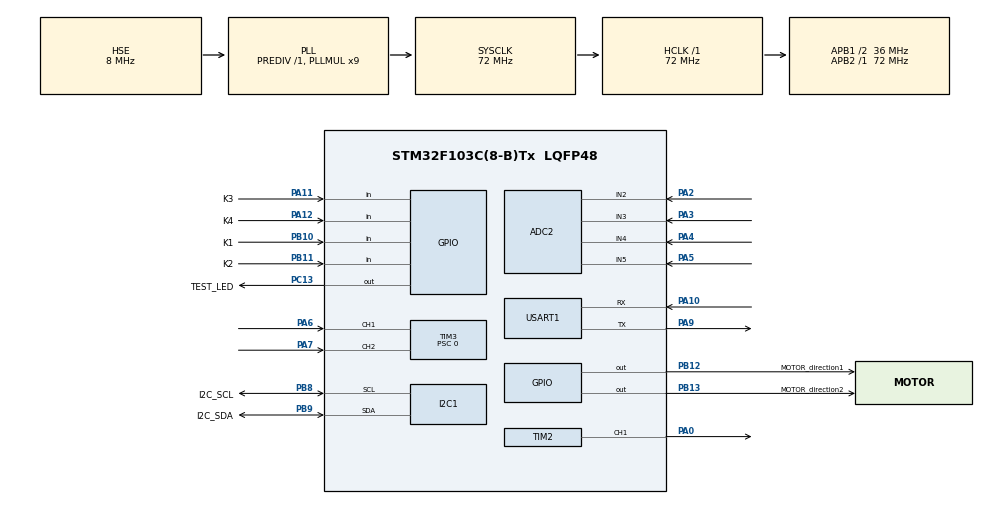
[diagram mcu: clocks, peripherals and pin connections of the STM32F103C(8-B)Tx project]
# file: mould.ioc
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ADC2.Channel-0\#ChannelRegularConversion=ADC_CHANNEL_2
ADC2.NbrOfConversion=1
ADC2.NbrOfConversionFlag=1
ADC2.Rank-0\#ChannelRegularConversion=1
ADC2.SamplingTime-0\#ChannelRegularConversion=ADC_SAMPLETIME_55CYCLES_5
Mcu.Family=STM32F1
Mcu.Name=STM32F103C(8-B)Tx
Mcu.Package=LQFP48
NVIC.PriorityGroup=NVIC_PRIORITYGROUP_4
NVIC.TIM1_UP_IRQn=true\:0\:0\:false\:false\:true\:true\:true\:true
PA0-WKUP.Signal=S_TIM2_CH1_ETR
PA10.Mode=Asynchronous
PA10.Signal=USART1_RX
PA11.GPIO_Label=K3
PA11.GPIO_PuPd=GPIO_PULLUP
PA11.Signal=GPIO_Input
PA12.GPIO_Label=K4
PA12.GPIO_PuPd=GPIO_PULLUP
PA12.Signal=GPIO_Input
PA13.Mode=Serial_Wire
PA13.Signal=SYS_JTMS-SWDIO
PA14.Mode=Serial_Wire
PA14.Signal=SYS_JTCK-SWCLK
PA2.Signal=ADCx_IN2
PA3.Signal=ADCx_IN3
PA4.Signal=ADCx_IN4
PA5.Signal=ADCx_IN5
PA6.Signal=S_TIM3_CH1
PA7.Signal=S_TIM3_CH2
PA9.Mode=Asynchronous
PA9.Signal=USART1_TX
PB10.GPIO_Label=K1
PB10.GPIO_PuPd=GPIO_PULLUP
PB10.Signal=GPIO_Input
PB11.GPIO_Label=K2
PB11.GPIO_PuPd=GPIO_PULLUP
PB11.Signal=GPIO_Input
PB12.GPIO_Label=MOTOR_direction1
PB12.GPIO_ModeDefaultOutputPP=GPIO_MODE_OUTPUT_PP
PB12.Signal=GPIO_Output
PB13.GPIO_Label=MOTOR_direction2
PB13.Signal=GPIO_Output
PB8.GPIO_Label=I2C_SCL
PB8.Mode=I2C
PB8.Signal=I2C1_SCL
PB9.GPIO_Label=I2C_SDA
PB9.Mode=I2C
PB9.Signal=I2C1_SDA
PC13-TAMPER-RTC.GPIO_Label=TEST_LED
PC13-TAMPER-RTC.GPIO_ModeDefaultOutputPP=GPIO_MODE_OUTPUT_PP
PC13-TAMPER-RTC.PinState=GPIO_PIN_SET
PC13-TAMPER-RTC.Signal=GPIO_Output
PD0-OSC_IN.Mode=HSE-External-Oscillator
PD0-OSC_IN.Signal=RCC_OSC_IN
PD1-OSC_OUT.Mode=HSE-External-Oscillator
PD1-OSC_OUT.Signal=RCC_OSC_OUT
ProjectManager.HeapSize=0x200
ProjectManager.StackSize=0x400
ProjectManager.TargetToolchain=MDK-ARM V5.32
RCC.ADCPresc=RCC_ADCPCLK2_DIV6
RCC.AHBFreq_Value=72000000
RCC.APB1CLKDivider=RCC_HCLK_DIV2
RCC.APB1Freq_Value=36000000
RCC.APB1TimFreq_Value=72000000
RCC.APB2Freq_Value=72000000
RCC.APB2TimFreq_Value=72000000
RCC.HCLKFreq_Value=72000000
RCC.PLLMUL=RCC_PLL_MUL9
RCC.PLLSourceVirtual=RCC_PLLSOURCE_HSE
RCC.SYSCLKFreq_VALUE=72000000
RCC.SYSCLKSource=RCC_SYSCLKSOURCE_PLLCLK
RCC.USBFreq_Value=72000000
SH.ADCx_IN2.0=ADC1_IN2
SH.ADCx_IN2.1=ADC2_IN2,IN2
SH.ADCx_IN3.0=ADC1_IN3
SH.ADCx_IN3.1=ADC2_IN3,IN3
SH.ADCx_IN4.0=ADC1_IN4
SH.ADCx_IN4.1=ADC2_IN4,IN4
SH.ADCx_IN5.0=ADC1_IN5
SH.ADCx_IN5.1=ADC2_IN5,IN5
SH.S_TIM2_CH1_ETR.0=TIM2_CH1,PWM Generation1 CH1
SH.S_TIM3_CH1.0=TIM3_CH1,Encoder_Interface
SH.S_TIM3_CH2.0=TIM3_CH2,Encoder_Interface
TIM1.Period=100-1
TIM1.Prescaler=720-1
TIM2.Channel-PWM\ Generation1\ CH1=TIM_CHANNEL_1
TIM2.Period=100-1
TIM2.Prescaler=720-1
TIM2.Pulse-PWM\ Generation1\ CH1=0
TIM3.AutoReloadPreload=TIM_AUTORELOAD_PRELOAD_ENABLE
TIM3.EncoderMode=TIM_ENCODERMODE_TI12
TIM3.Period=65535
TIM3.Prescaler=0
USART1.VirtualMode=VM_ASYNC
VP_TIM1_VS_ClockSourceINT.Mode=Internal
VP_TIM2_VS_ClockSourceINT.Mode=Internal
board=custom

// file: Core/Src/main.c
/* USER CODE BEGIN Header */
/**
  ******************************************************************************
  * @file           : main.c
  * @brief          : Main program body
  ******************************************************************************
  * @attention
  *
  * Copyright (c) 2025 STMicroelectronics.
  * All rights reserved.
  *
  * This software is licensed under terms that can be found in the LICENSE file
  * in the root directory of this software component.
  * If no LICENSE file comes with this software, it is provided AS-IS.
  *
  ******************************************************************************
  */

// light up the blue LED HAL_GPIO_WritePin(TEST_LED_GPIO_Port,TEST_LED_Pin,0);

/* USER CODE END Header */
#include "main.h"
#include "adc.h"
#include "i2c.h"
#include "tim.h"
#include "usart.h"
#include "gpio.h"

/* USER CODE BEGIN Includes */
#include "Key.h"
#include "OLED.h"
#include "RP.h"
#include "MOTOR.h"
#include "Serial.h"
/* USER CODE END Includes */

void SystemClock_Config(void);

/* USER CODE BEGIN 0 */
uint8_t KeyNum=0;
int16_t Speed;
int8_t PWM;
/* USER CODE END 0 */

int main(void)
{

  /* MCU Configuration--------------------------------------------------------*/

  /* Reset of all peripherals, Initializes the Flash interface and the Systick. */
  HAL_Init();

  /* Configure the system clock */
  SystemClock_Config();

  /* Initialize all configured peripherals */
  MX_GPIO_Init();
  MX_I2C1_Init();
  MX_TIM1_Init();
  MX_ADC2_Init();
  MX_TIM2_Init();
  MX_TIM3_Init();
  MX_USART1_UART_Init();
  /* USER CODE BEGIN 2 */
  OLED_Init();
  HAL_TIM_Base_Start_IT(&htim1);
  HAL_TIM_PWM_Start(&htim2, TIM_CHANNEL_1);
  HAL_TIM_Encoder_Start(&htim3, TIM_CHANNEL_ALL);
  /* USER CODE END 2 */

  /* Infinite loop */
  /* USER CODE BEGIN WHILE */
  OLED_Reverse();
  OLED_Clear();
  OLED_ShowString(0,0,"KeyNum:");
  OLED_ShowString(1,0,"RP1:");
  OLED_ShowString(2,0,"RP2:");
  OLED_ShowString(3,0,"RP3:");
  OLED_ShowString(4,0,"RP4:");
  OLED_ShowString(5,0,"Speed:");
  OLED_ShowString(6,0,"PWM:");
//  OLED_ShowString(7,0,"Location:");
  MOTOR_Start();
  MOTOR_PWMControl(10);
  while (1)
  {

    /* USER CODE END WHILE */

  }
}

void SystemClock_Config(void)
{
  RCC_OscInitTypeDef RCC_OscInitStruct = {0};
  RCC_ClkInitTypeDef RCC_ClkInitStruct = {0};
  RCC_PeriphCLKInitTypeDef PeriphClkInit = {0};

  /** Initializes the RCC Oscillators according to the specified parameters
  * in the RCC_OscInitTypeDef structure.
  */
  RCC_OscInitStruct.OscillatorType = RCC_OSCILLATORTYPE_HSE;
  RCC_OscInitStruct.HSEState = RCC_HSE_ON;
  RCC_OscInitStruct.HSEPredivValue = RCC_HSE_PREDIV_DIV1;
  RCC_OscInitStruct.HSIState = RCC_HSI_ON;
  RCC_OscInitStruct.PLL.PLLState = RCC_PLL_ON;
  RCC_OscInitStruct.PLL.PLLSource = RCC_PLLSOURCE_HSE;
  RCC_OscInitStruct.PLL.PLLMUL = RCC_PLL_MUL9;
  if (HAL_RCC_OscConfig(&RCC_OscInitStruct) != HAL_OK)
  {
    Error_Handler();
  }

  /** Initializes the CPU, AHB and APB buses clocks
  */
  RCC_ClkInitStruct.ClockType = RCC_CLOCKTYPE_HCLK|RCC_CLOCKTYPE_SYSCLK
                              |RCC_CLOCKTYPE_PCLK1|RCC_CLOCKTYPE_PCLK2;
  RCC_ClkInitStruct.SYSCLKSource = RCC_SYSCLKSOURCE_PLLCLK;
  RCC_ClkInitStruct.AHBCLKDivider = RCC_SYSCLK_DIV1;
  RCC_ClkInitStruct.APB1CLKDivider = RCC_HCLK_DIV2;
  RCC_ClkInitStruct.APB2CLKDivider = RCC_HCLK_DIV1;

  if (HAL_RCC_ClockConfig(&RCC_ClkInitStruct, FLASH_LATENCY_2) != HAL_OK)
  {
    Error_Handler();
  }
  PeriphClkInit.PeriphClockSelection = RCC_PERIPHCLK_ADC;
  PeriphClkInit.AdcClockSelection = RCC_ADCPCLK2_DIV6;
  if (HAL_RCCEx_PeriphCLKConfig(&PeriphClkInit) != HAL_OK)
  {
    Error_Handler();
  }
}

/* USER CODE BEGIN 4 */
void HAL_TIM_PeriodElapsedCallback(TIM_HandleTypeDef *htim)
{
  // 判断是哪个定时器触发了中断
  static uint16_t count=0;
  if (htim->Instance == TIM1)
  {
	  count++;
	  if(count>=20)
	  {
		//按键检测
		KeyNum=Key_Songshou();
	    if(KeyNum!=0)
	    {
		  OLED_ShowChar(0,42,KeyNum+'0');
		  switch(KeyNum)
		  {
			  case 1:PWM+=10;break;
			  case 2:PWM-=10;break;
			  case 3:PWM=0;break;
			  default :break;
		  }
	    }
		//更新旋钮数据并显示新数据
		ADC_updata_Data_RP();
		OLED_ShowFloat(1,24,ADC_Data_RP[0]);
	    OLED_ShowFloat(2,24,ADC_Data_RP[1]);
	    OLED_ShowFloat(3,24,ADC_Data_RP[2]);
	    OLED_ShowFloat(4,24,ADC_Data_RP[3]);
		//读取电机状态
		Speed=MOTOR_ReadSpeed();
		OLED_Sprintf(5,36,"%03d",Speed);
		OLED_Sprintf(6,24,"%03d",PWM);
//		OLED_Showint(6,54,MOTOR_ReadLocation());
		//串口发消息
		Serial_Sprintf("%04.2f,%04.2f,%04.2f,%04.2f\r\n",ADC_Data_RP[0],ADC_Data_RP[1],ADC_Data_RP[2],ADC_Data_RP[3]);
		count=0;
	  }
  }
 }
/* USER CODE END 4 */

void Error_Handler(void)
{
  __disable_irq();
  while (1)
  {
  }
}
